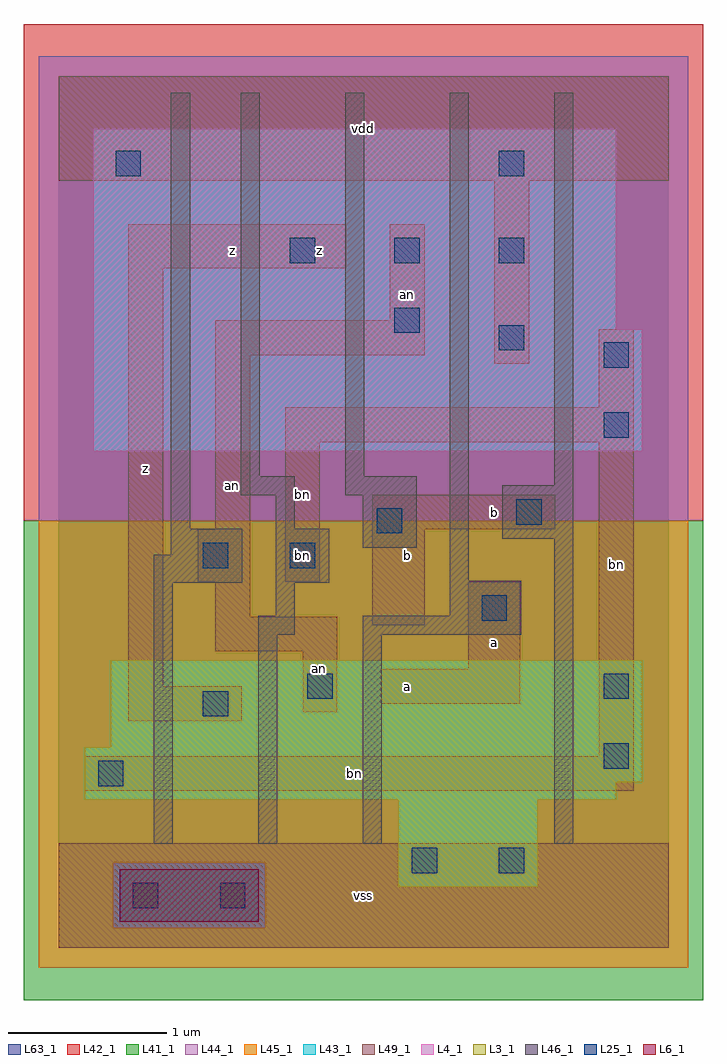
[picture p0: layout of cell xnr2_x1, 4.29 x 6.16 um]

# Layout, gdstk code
import gdstk
lib = gdstk.Library(unit=1e-6, precision=1e-09)
def R(c, l, rs):  # rectangles x0, y0, x1, y1
    for r in rs: c.add(gdstk.rectangle(r[:2], r[2:], *l))
def A(c, l, x, y, w, h, nx, ny, dx, dy):  # array of equal rectangles
    R(c, l, [(x+i*dx, y+j*dy, x+i*dx+w, y+j*dy+h) for i in range(nx) for j in range(ny)])
L3_1 = (3, 1)
L4_1 = (4, 1)
L6_1 = (6, 1)
L25_1 = (25, 1)
L41_1 = (41, 1)
L42_1 = (42, 1)
L43_1 = (43, 1)
L44_1 = (44, 1)
L45_1 = (45, 1)
L46_1 = (46, 1)
L49_1 = (49, 1)
L63_1 = (63, 1)

xnr2_x1 = lib.new_cell('xnr2_x1')
R(xnr2_x1, L3_1, [(2.145,0.385,3.025,0.935), (0.165,0.935,3.52,1.045), (0.165,1.045,3.685,1.265), (0.33,1.265,3.685,1.815)])
R(xnr2_x1, L4_1, [(0.22,3.135,3.685,3.905), (0.22,3.905,3.52,5.17)])
R(xnr2_x1, L6_1, [(0.385,0.165,1.265,0.495)])
A(xnr2_x1, L25_1, 1.46, 4.32, 0.16, 0.16, 3, 1, 0.66, 0)
R(xnr2_x1, L25_1, [(0.47,0.25,0.63,0.41), (1.02,0.25,1.18,0.41), (2.23,0.47,2.39,0.63), (2.78,0.47,2.94,0.63), (0.25,1.02,0.41,1.18), (3.44,1.13,3.6,1.29), (0.91,1.46,1.07,1.62), (1.57,1.57,1.73,1.73), (3.44,1.57,3.6,1.73), (2.67,2.065,2.83,2.225), (0.91,2.395,1.07,2.555), (1.46,2.395,1.62,2.555), (2.01,2.615,2.17,2.775), (2.89,2.67,3.05,2.83), (3.44,3.22,3.6,3.38), (3.44,3.66,3.6,3.82), (2.78,3.77,2.94,3.93), (2.12,3.88,2.28,4.04), (0.36,4.87,0.52,5.03), (2.78,4.87,2.94,5.03)])
R(xnr2_x1, L41_1, [(-0.22,-0.33,4.07,2.695)])
R(xnr2_x1, L42_1, [(-0.22,2.695,4.07,5.83)])
R(xnr2_x1, L43_1, [(0.385,0.165,1.265,0.495), (2.145,0.385,3.025,0.935), (0.165,0.935,3.52,1.045), (0.165,1.045,3.685,1.265), (0.33,1.265,3.685,1.815), (0.22,3.135,3.685,3.905), (0.22,3.905,3.52,5.17)])
R(xnr2_x1, L44_1, [(0.345,0.125,1.305,0.535), (-0.125,2.695,3.975,5.625)])
R(xnr2_x1, L45_1, [(-0.125,-0.125,3.975,0.125), (-0.125,0.125,0.345,0.535), (1.305,0.125,3.975,0.535), (-0.125,0.535,3.975,2.695)])
R(xnr2_x1, L46_1, [(0.6,0.655,0.72,2.305), (1.26,0.655,1.38,1.975), (1.92,0.655,2.04,1.975), (3.13,0.655,3.25,2.58), (1.26,1.975,1.49,2.095), (1.92,1.975,2.92,2.095), (1.37,2.095,1.49,2.305), (2.47,2.095,2.92,2.315), (0.6,2.305,1.16,2.48), (1.37,2.305,1.71,2.645), (2.47,2.315,2.59,5.395), (0.71,2.48,1.16,2.645), (1.92,2.525,2.26,2.855), (2.8,2.58,3.25,2.92), (0.71,2.645,0.83,5.395), (1.37,2.645,1.49,2.855), (1.15,2.855,1.49,2.975), (1.81,2.855,2.26,2.975), (3.13,2.92,3.25,5.395), (1.15,2.975,1.27,5.395), (1.81,2.975,1.93,5.395)])
R(xnr2_x1, L49_1, [(0,0,3.85,0.66), (0.165,0.99,3.63,1.21), (3.41,1.21,3.63,3.19), (0.44,1.43,1.155,1.65), (1.54,1.485,1.76,1.87), (2.035,1.54,2.915,1.76), (0.44,1.65,0.66,4.29), (2.585,1.76,2.915,2.31), (0.99,1.87,1.76,2.09), (1.98,2.035,2.31,2.64), (0.99,2.09,1.21,2.31), (0.88,2.31,1.21,2.64), (1.43,2.31,1.65,3.19), (0.99,2.64,1.21,3.74), (1.98,2.64,3.135,2.86), (1.43,3.19,3.63,3.41), (3.41,3.41,3.63,3.905), (2.75,3.685,2.97,4.84), (0.99,3.74,2.31,3.96), (2.09,3.96,2.31,4.565), (0.44,4.29,1.815,4.565), (0,4.84,3.85,5.5)])
R(xnr2_x1, L63_1, [(0,0,3.85,5.5)])
xnr2_x1.add(gdstk.Label('bn', (1.54,2.475), layer=49, texttype=1))
xnr2_x1.add(gdstk.Label('z', (0.55,3.025), layer=49, texttype=1))
xnr2_x1.add(gdstk.Label('z', (0.55,3.025), layer=49, texttype=1))
xnr2_x1.add(gdstk.Label('an', (1.65,1.76), layer=49, texttype=1))
xnr2_x1.add(gdstk.Label('bn', (1.54,2.86), layer=49, texttype=1))
xnr2_x1.add(gdstk.Label('an', (1.1,2.915), layer=49, texttype=1))
xnr2_x1.add(gdstk.Label('z', (1.1,4.4), layer=49, texttype=1))
xnr2_x1.add(gdstk.Label('z', (1.1,4.4), layer=49, texttype=1))
xnr2_x1.add(gdstk.Label('z', (1.65,4.4), layer=49, texttype=1))
xnr2_x1.add(gdstk.Label('z', (1.65,4.4), layer=49, texttype=1))
xnr2_x1.add(gdstk.Label('vss', (1.925,0.33), layer=49, texttype=1))
xnr2_x1.add(gdstk.Label('vss', (1.925,0.33), layer=49, texttype=1))
xnr2_x1.add(gdstk.Label('a', (2.75,1.925), layer=49, texttype=1))
xnr2_x1.add(gdstk.Label('b', (2.2,2.475), layer=49, texttype=1))
xnr2_x1.add(gdstk.Label('a', (2.2,1.65), layer=49, texttype=1))
xnr2_x1.add(gdstk.Label('b', (2.2,2.475), layer=49, texttype=1))
xnr2_x1.add(gdstk.Label('a', (2.75,1.925), layer=49, texttype=1))
xnr2_x1.add(gdstk.Label('a', (2.2,1.65), layer=49, texttype=1))
xnr2_x1.add(gdstk.Label('b', (2.75,2.75), layer=49, texttype=1))
xnr2_x1.add(gdstk.Label('b', (2.75,2.75), layer=49, texttype=1))
xnr2_x1.add(gdstk.Label('an', (2.2,4.125), layer=49, texttype=1))
xnr2_x1.add(gdstk.Label('vdd', (1.925,5.17), layer=49, texttype=1))
xnr2_x1.add(gdstk.Label('vdd', (1.925,5.17), layer=49, texttype=1))
xnr2_x1.add(gdstk.Label('bn', (1.87,1.1), layer=49, texttype=1))
xnr2_x1.add(gdstk.Label('bn', (3.52,2.42), layer=49, texttype=1))

lib.write_gds('xnr2_x1.gds')
